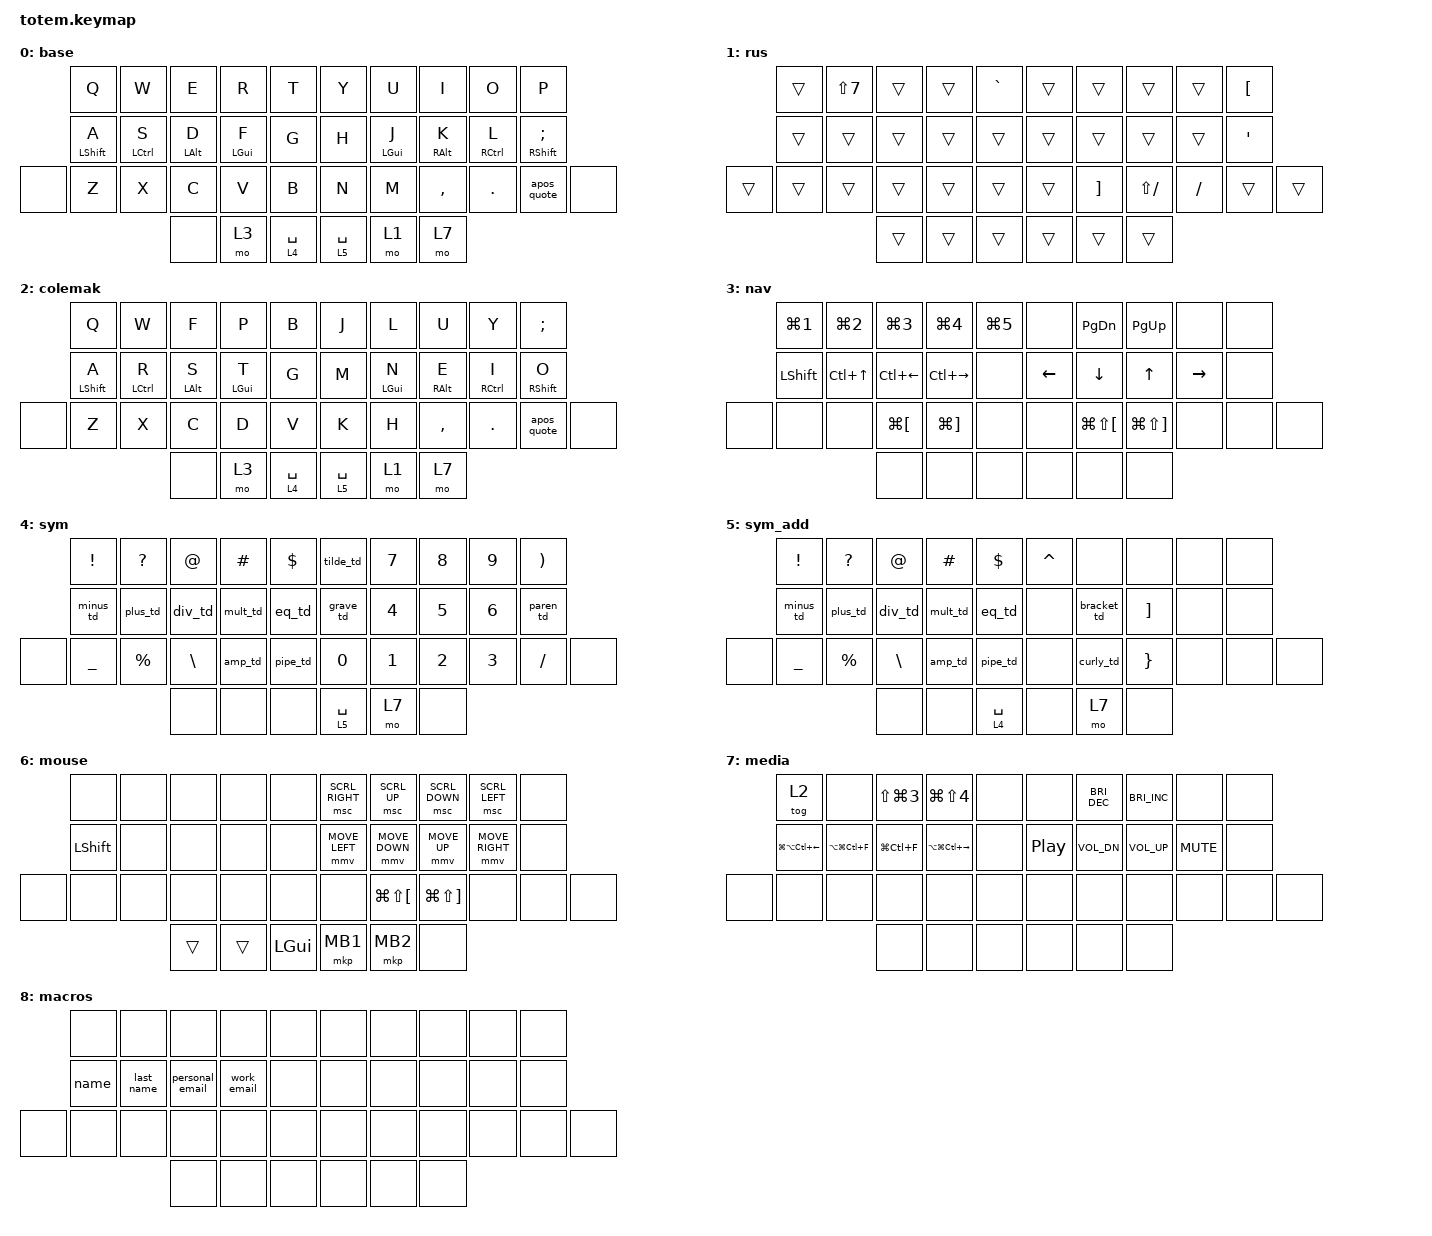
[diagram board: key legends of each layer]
//
//                                                        ▀▀▀▀▀     ▀▀▀▀▀          ▀▀█▀▀
//                                                        ▄▀▀▀▄  ▄  ▄▀▀▀▄  ▄  ▄▀▀▀▄  █  ▄▀▀▀▄
//                                                        █   █  █  █   █  █  █   █  █  █   █
//                                                         ▀▀▀   █   ▀▀▀   █   ▀▀▀   ▀   ▀▀▀
//                                                               █      ▄▄▄█▄▄▄    █   █
//                                                               ▀      █  █  █     █▄█
//                                                             ▀▀▀▀▀    █  █  █      ▀
//                                                                      ▀  ▀  ▀
//
// ▄▄▄▄▄▄▄▄▄▄▄▄▄▄▄▄▄▄▄▄▄▄▄▄▄▄▄▄▄▄▄▄▄▄▄▄▄▄▄▄▄▄▄▄▄▄▄▄▄▄▄▄▄▄▄▄▄▄▄▄▄▄▄▄▄▄▄▄▄▄▄▄▄▄▄▄▄▄▄▄▄▄▄▄▄▄▄▄▄▄▄▄▄▄▄▄▄▄▄▄▄▄▄▄▄▄▄▄▄▄▄▄▄▄▄▄▄▄▄▄▄▄▄▄▄▄▄▄▄▄▄▄▄▄▄▄▄▄▄▄▄▄▄▄▄▄▄▄▄

#define ZMK_POINTING_DEFAULT_MOVE_VAL 2000
#define ZMK_POINTING_DEFAULT_SCRL_VAL 30

#include <behaviors.dtsi>
#include <dt-bindings/zmk/bt.h>
#include <dt-bindings/zmk/keys.h>
#include <dt-bindings/zmk/pointing.h>

#define mouse 6

&mmv {
    time-to-max-speed-ms = <300>;
    acceleration-exponent = <1>;
};

&msc {
    time-to-max-speed-ms = <300>;
    acceleration-exponent = <1>;
};

&mt {
    flavor = "tap-preferred";
    tapping-term-ms = <200>;
};

/ {
    behaviors {
        hml: home_row_mod_left {
            compatible = "zmk,behavior-hold-tap";
            #binding-cells = <2>;
            flavor = "balanced";
            require-prior-idle-ms = <150>;
            tapping-term-ms = <280>;
            quick-tap-ms = <175>;
            bindings = <&kp>, <&kp>;

            hold-trigger-key-positions = <5 15 26 16 6 7 17 28 27 8 18 29 9 19 30>;
            hold-trigger-on-release;
        };

        hmr: home_row_mod_right {
            compatible = "zmk,behavior-hold-tap";
            #binding-cells = <2>;
            flavor = "balanced";
            require-prior-idle-ms = <150>;
            tapping-term-ms = <280>;
            quick-tap-ms = <175>;
            bindings = <&kp>, <&kp>;

            hold-trigger-key-positions = <0 0 1 4 10 11 12 13 14 21 22 23 24 25 2 3>;
            hold-trigger-on-release;
        };

        eq_td: eq_td {
            compatible = "zmk,behavior-tap-dance";
            label = "EQ_TD";
            #binding-cells = <0>;
            tapping-term-ms = <300>;
            bindings = <&kp EQUAL>, <&eq>;
        };

        minus_td: minus_td {
            compatible = "zmk,behavior-tap-dance";
            label = "MINUS_TD";
            #binding-cells = <0>;
            tapping-term-ms = <300>;
            bindings = <&mt LEFT_SHIFT MINUS>, <&minus>;
        };

        plus_td: plus_td {
            compatible = "zmk,behavior-tap-dance";
            label = "PLUS_TD";
            #binding-cells = <0>;
            tapping-term-ms = <300>;
            bindings = <&kp PLUS>, <&plus>;
        };

        div_td: div_td {
            compatible = "zmk,behavior-tap-dance";
            label = "DIV_TD";
            #binding-cells = <0>;
            tapping-term-ms = <300>;
            bindings = <&kp SLASH>, <&div>;
        };

        mult_td: mult_td {
            compatible = "zmk,behavior-tap-dance";
            label = "MULT_TD";
            #binding-cells = <0>;
            tapping-term-ms = <300>;
            bindings = <&kp ASTRK>, <&mult>;
        };

        paren_td: paren_td {
            compatible = "zmk,behavior-tap-dance";
            label = "PAREN_TD";
            #binding-cells = <0>;
            tapping-term-ms = <300>;
            bindings = <&kp LEFT_PARENTHESIS>, <&paren>;
        };

        bracket_td: bracket_td {
            compatible = "zmk,behavior-tap-dance";
            label = "BRACKET_TD";
            #binding-cells = <0>;
            tapping-term-ms = <300>;
            bindings = <&kp LEFT_BRACKET>, <&brackets>;
        };

        curly_td: curly_td {
            compatible = "zmk,behavior-tap-dance";
            label = "CURLY_TD";
            #binding-cells = <0>;
            tapping-term-ms = <300>;
            bindings = <&kp LEFT_BRACE>, <&curly_braces>;
        };

        apos_quote: apos_quote {
            compatible = "zmk,behavior-mod-morph";
            label = "APOS_QUOTE";
            bindings = <&apos_td>, <&kp DOUBLE_QUOTES>;

            #binding-cells = <0>;
            mods = <(MOD_LSFT|MOD_RSFT)>;
        };

        apos_td: apos_td {
            compatible = "zmk,behavior-tap-dance";
            label = "APOS_TD";
            #binding-cells = <0>;
            tapping-term-ms = <300>;
            bindings = <&apos_single>, <&apos_pair>, <&quote_pair>;
        };

        grave_td: grave_td {
            compatible = "zmk,behavior-tap-dance";
            label = "GRAVE_TD";
            #binding-cells = <0>;
            tapping-term-ms = <300>;
            bindings = <&kp GRAVE>, <&backtick_pair>, <&triple_grave>;
        };

        pipe_td: pipe_td {
            compatible = "zmk,behavior-tap-dance";
            label = "PIPE_TD";
            #binding-cells = <0>;
            tapping-term-ms = <300>;
            bindings = <&kp PIPE>, <&pipe>, <&double_or>;
        };

        amp_td: amp_td {
            compatible = "zmk,behavior-tap-dance";
            label = "AMP_TD";
            #binding-cells = <0>;
            tapping-term-ms = <300>;
            bindings = <&kp AMPS>, <&amp>, <&and>;
        };

        tilde_td: tilde_td {
            compatible = "zmk,behavior-tap-dance";
            label = "TILDE_TD";
            #binding-cells = <0>;
            tapping-term-ms = <300>;
            bindings = <&kp TILDE>, <&tilde_slash>, <&tilde_slash_dot>;
        };
    };
};

/ {
    combos {
        compatible = "zmk,combos";

        left_esc {
            bindings = <&kp ESCAPE>;
            key-positions = <1 0>;
        };

        enter {
            bindings = <&kp RET>;
            key-positions = <16 17 18>;
            timeout-ms = <100>;
        };

        tab {
            bindings = <&kp TAB>;
            key-positions = <10 11>;
        };

        r_word {
            bindings = <&kp LA(RIGHT)>;
            key-positions = <18 17>;
            layers = <0 2 3>;
        };

        backspace {
            bindings = <&kp BACKSPACE>;
            key-positions = <18 19>;
            timeout-ms = <100>;
        };

        l_word {
            bindings = <&kp LA(LEFT)>;
            key-positions = <17 16>;
            layers = <0 2 3>;
            timeout-ms = <100>;
        };

        backspace2 {
            bindings = <&kp BACKSPACE>;
            key-positions = <16 35>;
        };

        backspace3 {
            bindings = <&kp BACKSPACE>;
            key-positions = <13 34>;
        };

        del_word {
            bindings = <&kp LA(BACKSPACE)>;
            key-positions = <35 16 17>;
            layers = <0 2>;
        };

        del_word_fw {
            bindings = <&kp LA(DELETE)>;
            key-positions = <17 18 35>;
            layers = <0 2>;
        };

        bt_clear {
            bindings = <&bt BT_CLR>;
            key-positions = <34 20>;
            layers = <7>;
        };

        bt_0 {
            bindings = <&bt BT_SEL 0>;
            key-positions = <34 21>;
            layers = <7>;
        };

        bt_1 {
            bindings = <&bt BT_SEL 1>;
            key-positions = <34 10>;
            layers = <7>;
        };

        bt_2 {
            bindings = <&bt BT_SEL 2>;
            key-positions = <34 0>;
            layers = <7>;
        };

        reset {
            bindings = <&sys_reset>;
            key-positions = <34 0 10 21>;
            layers = <7>;
        };

        language_switch {
            bindings = <&kp LC(SPACE)>;
            key-positions = <34 35>;
            timeout-ms = <300>;
            layers = <0 2>;
        };

        caps_word {
            bindings = <&caps_word>;
            key-positions = <10 19>;
            timeout-ms = <100>;
        };

        mouse_layer {
            bindings = <&mo 6>;
            key-positions = <12 13>;
            slow-release;
            layers = <0 2>;
        };
    };

    macros {
        personal_email: personal_email {
            compatible = "zmk,behavior-macro";
            #binding-cells = <0>;
            bindings = <&kp M &kp U &kp R &kp Z &kp N4 &kp N2 &kp AT &kp G &kp M &kp A &kp I &kp L &kp DOT &kp C &kp O &kp M>;
            label = "PERSONAL_EMAIL";
        };

        work_email: work_email {
            compatible = "zmk,behavior-macro";
            #binding-cells = <0>;
            bindings = <&kp I &kp L &kp I &kp A &kp DOT &kp M &kp U &kp R &kp Z &kp I &kp N &kp O &kp V &kp AT &kp R &kp E &kp V &kp O &kp L &kp U &kp T &kp DOT &kp C &kp O &kp M>;
            label = "WORK_EMAIL";
        };

        thinking_face: thinking_face {
            compatible = "zmk,behavior-macro";
            #binding-cells = <0>;
            bindings = <&kp COLON &kp T &kp H &kp I &kp N &kp K &kp I &kp N &kp G &kp UNDER &kp F &kp A &kp C &kp E &kp COLON>;
            label = "THINKING_FACE";
        };

        name: name {
            compatible = "zmk,behavior-macro";
            #binding-cells = <0>;
            bindings = <&kp LS(I) &kp L &kp I &kp A>;
            label = "NAME";
        };

        last_name: last_name {
            compatible = "zmk,behavior-macro";
            #binding-cells = <0>;
            bindings = <&kp LS(M) &kp U &kp R &kp Z &kp I &kp N &kp O &kp V>;
            label = "LAST_NAME";
        };

        eq: eq {
            compatible = "zmk,behavior-macro";
            #binding-cells = <0>;
            bindings = <&kp SPACE &kp EQUAL &kp SPACE>;
            label = "EQ";
        };

        mult: mult {
            compatible = "zmk,behavior-macro";
            #binding-cells = <0>;
            bindings = <&kp SPACE &kp STAR &kp SPACE>;
            label = "MULT";
        };

        div: div {
            compatible = "zmk,behavior-macro";
            #binding-cells = <0>;
            bindings = <&kp SPACE &kp FSLH &kp SPACE>;
            label = "DIV";
        };

        minus: minus {
            compatible = "zmk,behavior-macro";
            #binding-cells = <0>;
            bindings = <&kp SPACE &kp MINUS &kp SPACE>;
            label = "MINUS";
        };

        plus: plus {
            compatible = "zmk,behavior-macro";
            #binding-cells = <0>;
            bindings = <&kp SPACE &kp PLUS &kp SPACE>;
            label = "PLUS";
        };

        paren: paren {
            compatible = "zmk,behavior-macro";
            #binding-cells = <0>;
            bindings = <&kp LPAR &kp RPAR &kp LEFT>;
            label = "PAREN";
        };

        brackets: brackets {
            compatible = "zmk,behavior-macro";
            #binding-cells = <0>;
            bindings = <&kp LBKT &kp RBKT &kp LEFT>;
            label = "BRACKETS";
        };

        curly_braces: curly_braces {
            compatible = "zmk,behavior-macro";
            #binding-cells = <0>;
            bindings = <&kp LBRC &kp RBRC &kp LEFT>;
            label = "CURLY_BRACES";
        };

        apos_single: apos_single {
            compatible = "zmk,behavior-macro";
            #binding-cells = <0>;
            bindings = <&kp SQT>;
            label = "APOS_SINGLE";
        };

        apos_pair: apos_pair {
            compatible = "zmk,behavior-macro";
            #binding-cells = <0>;
            bindings = <&kp SQT &kp SQT &kp LEFT>;
            label = "APOS_PAIR";
        };

        quote_pair: quote_pair {
            compatible = "zmk,behavior-macro";
            #binding-cells = <0>;
            bindings = <&kp DOUBLE_QUOTES &kp DOUBLE_QUOTES &kp LEFT>;
            label = "QUOTE_PAIR";
        };

        backtick_pair: backtick_pair {
            compatible = "zmk,behavior-macro";
            #binding-cells = <0>;
            bindings = <&kp GRAVE &kp GRAVE &kp LEFT>;
            label = "BACKTICK_PAIR";
        };

        triple_grave: triple_grave {
            compatible = "zmk,behavior-macro";
            #binding-cells = <0>;
            bindings = <&kp GRAVE &kp GRAVE &kp GRAVE &kp LS(RET) &kp LS(RET) &kp GRAVE &kp GRAVE &kp GRAVE &kp UP_ARROW>;
            label = "TRIPLE_GRAVE";
        };

        pipe: pipe {
            compatible = "zmk,behavior-macro";
            #binding-cells = <0>;
            bindings = <&kp SPACE &kp PIPE &kp SPACE>;
            label = "PIPE";
        };

        and: and {
            compatible = "zmk,behavior-macro";
            #binding-cells = <0>;
            bindings = <&kp SPACE &kp A &kp N &kp D &kp SPACE>;
            label = "AND";
        };

        amp: amp {
            compatible = "zmk,behavior-macro";
            #binding-cells = <0>;
            bindings = <&kp SPACE &kp AMPS &kp AMPS &kp SPACE>;
            label = "AMP";
        };

        tilde_slash: tilde_slash {
            compatible = "zmk,behavior-macro";
            #binding-cells = <0>;
            bindings = <&kp TILDE &kp FSLH>;
            label = "TILDE_SLASH";
        };

        tilde_slash_dot: tilde_slash_dot {
            compatible = "zmk,behavior-macro";
            #binding-cells = <0>;
            bindings = <&kp TILDE &kp FSLH &kp DOT>;
            label = "TILDE_SLASH_DOT";
        };

        double_or: double_or {
            compatible = "zmk,behavior-macro";
            #binding-cells = <0>;
            bindings = <&kp SPACE &kp PIPE &kp PIPE &kp SPACE>;
            label = "DOUBLE_OR";
        };
    };

    keymap {
        compatible = "zmk,keymap";

        base {
            bindings = <
       &kp Q              &kp W         &kp E            &kp R            &kp T          &kp Y        &kp U            &kp I             &kp O         &kp P
       &hml LEFT_SHIFT A  &hml LCTRL S  &hml LEFT_ALT D  &hml LEFT_GUI F  &kp G          &kp H        &hmr LEFT_GUI J  &hmr RIGHT_ALT K  &hmr RCTRL L  &hmr RIGHT_SHIFT SEMI
&none  &kp Z              &kp X         &kp C            &kp V            &kp B          &kp N        &kp M            &kp COMMA         &kp DOT       &apos_quote            &none
                                        &none            &mo 3            &lt 4 SPACE    &lt 5 SPACE  &mo 1            &mo 7
            >;
        };

        rus {
            bindings = <
        &trans  &kp LS(N7)  &trans  &trans  &kp GRAVE    &trans  &trans             &trans         &trans     &kp LEFT_BRACKET
        &trans  &trans      &trans  &trans  &trans       &trans  &trans             &trans         &trans     &kp APOS
&trans  &trans  &trans      &trans  &trans  &trans       &trans  &kp RIGHT_BRACKET  &kp LS(SLASH)  &kp SLASH  &trans            &trans
                            &trans  &trans  &trans       &trans  &trans             &trans
            >;
        };

        colemak {
            bindings = <
       &kp Q              &kp W         &kp F            &kp P            &kp B          &kp J        &kp L            &kp U             &kp Y         &kp SEMI
       &hml LEFT_SHIFT A  &hml LCTRL R  &hml LEFT_ALT S  &hml LEFT_GUI T  &kp G          &kp M        &hmr LEFT_GUI N  &hmr RIGHT_ALT E  &hmr RCTRL I  &hmr RIGHT_SHIFT O
&none  &kp Z              &kp X         &kp C            &kp D            &kp V          &kp K        &kp H            &kp COMMA         &kp DOT       &apos_quote            &none
                                        &none            &mo 3            &lt 4 SPACE    &lt 5 SPACE  &mo 1            &mo 7
            >;
        };

        nav {
            bindings = <
       &kp LG(NUMBER_1)  &kp LG(NUMBER_2)  &kp LG(NUMBER_3)      &kp LG(NUMBER_4)       &kp LG(N5)    &none     &kp PAGE_DOWN             &kp PAGE_UP                &none      &none
       &kp LEFT_SHIFT    &kp LC(UP_ARROW)  &kp LC(LEFT_ARROW)    &kp LC(RIGHT)          &none         &kp LEFT  &kp DOWN                  &kp UP                     &kp RIGHT  &none
&none  &none             &none             &kp LG(LEFT_BRACKET)  &kp LG(RIGHT_BRACKET)  &none         &none     &kp LG(LS(LEFT_BRACKET))  &kp LG(LS(RIGHT_BRACKET))  &none      &none  &none
                                           &none                 &none                  &none         &none     &none                     &none
            >;
        };

        sym {
            bindings = <
       &kp EXCL   &kp QUESTION  &kp AT         &kp HASH  &kp DOLLAR    &tilde_td    &kp N7  &kp N8  &kp N9  &kp RPAR
       &minus_td  &plus_td      &div_td        &mult_td  &eq_td        &grave_td    &kp N4  &kp N5  &kp N6  &paren_td
&none  &kp UNDER  &kp PERCENT   &kp BACKSLASH  &amp_td   &pipe_td      &kp N0       &kp N1  &kp N2  &kp N3  &kp SLASH  &none
                                &none          &none     &none         &lt 5 SPACE  &mo 7   &none
            >;
        };

        sym_add {
            bindings = <
       &kp EXCL   &kp QUESTION  &kp AT         &kp HASH  &kp DOLLAR     &kp CARET  &none        &none              &none  &none
       &minus_td  &plus_td      &div_td        &mult_td  &eq_td         &none      &bracket_td  &kp RIGHT_BRACKET  &none  &none
&none  &kp UNDER  &kp PERCENT   &kp BACKSLASH  &amp_td   &pipe_td       &none      &curly_td    &kp RIGHT_BRACE    &none  &none  &none
                                &none          &none     &lt 4 SPACE    &none      &mo 7        &none
            >;
        };

        mouse {
            bindings = <
       &none           &none  &none   &none   &none           &msc SCRL_RIGHT  &msc SCRL_UP              &msc SCRL_DOWN             &msc SCRL_LEFT   &none
       &kp LEFT_SHIFT  &none  &none   &none   &none           &mmv MOVE_LEFT   &mmv MOVE_DOWN            &mmv MOVE_UP               &mmv MOVE_RIGHT  &none
&none  &none           &none  &none   &none   &none           &none            &kp LG(LS(LEFT_BRACKET))  &kp LG(LS(RIGHT_BRACKET))  &none            &none  &none
                              &trans  &trans  &kp LEFT_GUI    &mkp MB1         &mkp MB2                  &none
            >;
        };

        media {
            bindings = <
       &tog 2                &none              &kp LS(LG(NUMBER_3))  &kp LG(LS(NUMBER_4))   &none    &none             &kp C_BRIGHTNESS_DEC  &kp C_BRIGHTNESS_INC  &none       &none
       &kp LG(LA(LC(LEFT)))  &kp LA(LG(LC(F)))  &kp LG(LC(F))         &kp LA(LG(LC(RIGHT)))  &none    &kp C_PLAY_PAUSE  &kp C_VOL_DN          &kp C_VOLUME_UP       &kp K_MUTE  &none
&none  &none                 &none              &none                 &none                  &none    &none             &none                 &none                 &none       &none  &none
                                                &none                 &none                  &none    &none             &none                 &none
            >;
        };

        macros {
            bindings = <
       &none  &none       &none            &none        &none    &none  &none  &none  &none  &none
       &name  &last_name  &personal_email  &work_email  &none    &none  &none  &none  &none  &none
&none  &none  &none       &none            &none        &none    &none  &none  &none  &none  &none  &none
                          &none            &none        &none    &none  &none  &none
            >;
        };
    };
};
